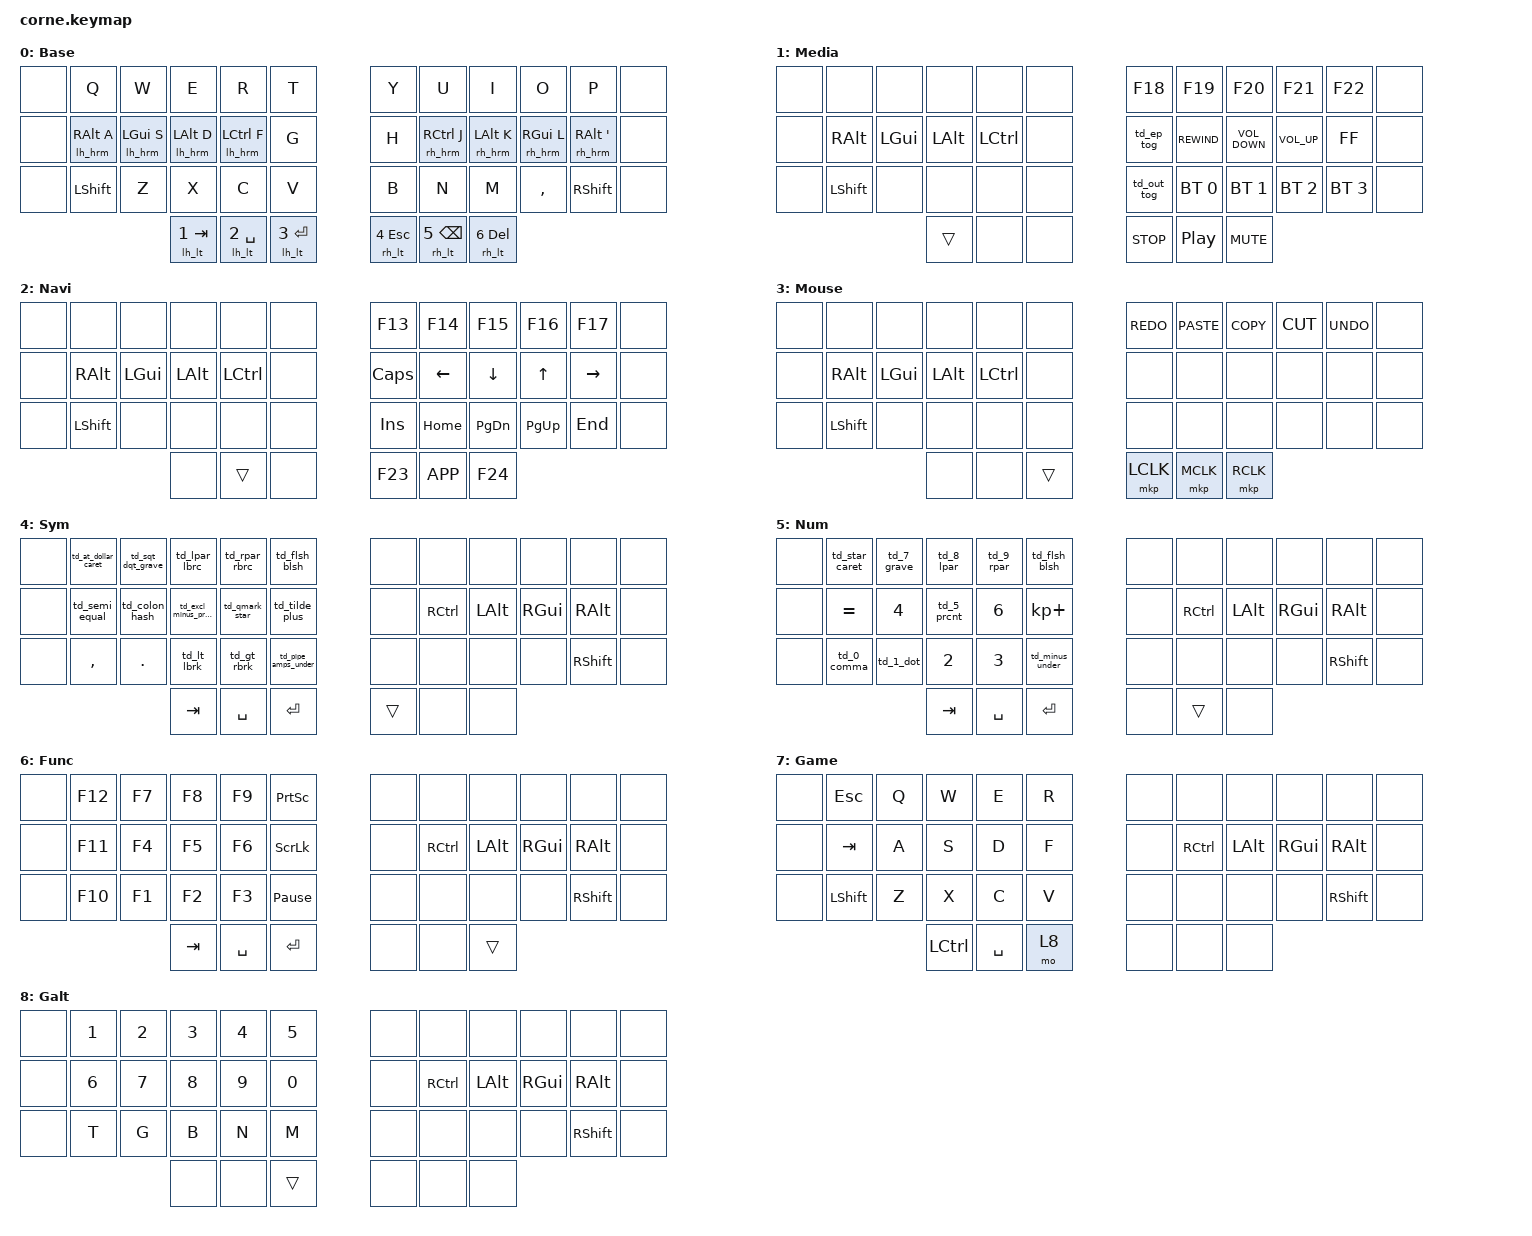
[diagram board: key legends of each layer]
/* 

try 1:FAILED
  found typo in combo builders,
  now try with combo and td builders

try 2:FAILED
  enable TD, disable combos

try 3:FAILED
  disable TDs, enable combos

try 4:FAILED
  space in compatible-string, fixed

try 5:SUCCESS
  timeout-ms typo fixed in combo builders

try 6:SUCCESS
  enable 2 keypress TDs

try 7:FAILED
  enable 3 keypress TDs

try 8:FAILED
  Q,W,E test td 

try 9:SUCCESS
  fixed typo in 3 key TD builder
  enable all TDs

try 10:SUCCESS 
  enable layers, modified to perm shift, base layer is the only one with button displacement

try 11:
  moved LDUR controls 1 key left in navi and media
  changed TD tapping time to 300

corneview default_layer
 -----------------------------------------------------------------------------------------
 |  TAB |  Q  |  W  |  E  |  R  |  T  |   |  Y  |  U   |  I  |  O  |  P  | BKSP |
 | CTRL |  A  |  S  |  D  |  F  |  G  |   |  H  |  J   |  K  |  L  |  ;  |  '   |
 | SHFT |  Z  |  X  |  C  |  V  |  B  |   |  N  |  M   |  ,  |  .  |  /  | ESC  |
                    | GUI | LWR | SPC |   | ENT | RSE  | ALT |

corneview lower_layer
 -----------------------------------------------------------------------------------------
 |  TAB |  1  |  2  |  3  |  4  |  5  |   |  6  |  7  |  8  |  9  |  0  | BKSP |
 | BTCLR| BT1 | BT2 | BT3 | BT4 | BT5 |   | LFT | DWN |  UP | RGT |     |      |
 | SHFT |     |     |     |     |     |   |     |     |     |     |     |      |
                    | GUI |     | SPC |   | ENT |     | ALT |

corneview raise_layer
 -----------------------------------------------------------------------------------------
 |  TAB |  !  |  @  |  #  |  $  |  %  |   |  ^  |  &  |  *  |  (  |  )  | BKSP |
 | CTRL |     |     |     |     |     |   |  -  |  =  |  [  |  ]  |  \  |  `   |
 | SHFT |     |     |     |     |     |   |  _  |  +  |  {  |  }  | "|" |  ~   |
                    | GUI |     | SPC |   | ENT |     | ALT |

 =========================================================================================


TAB
CTRL
SHIFT
BKSP
ESC

new plan
 ------------------------------------------------------------------
 |  Q  |  W  |  E  |  R  |  T  |   |  Y  |  U   |  I  |  O  |  P  |
 |  A  |  S  |  D  |  F  |  G  |   |  H  |  J   |  K  |  L  | ' " |
 |SHFT |  Z  |  X  |  C  |  V  |   |  B  |  N   |  M  | . : |SHFT |
             | GUI | CTRL| SPC |   | ENT | ESC  | ALT |

 ------------------------------------------------------------------
 |  Q  |  W  |  E  |  R  |  T  |   |  Y  |  U   |  I  |  O  |  P  |
 |  A  |  S  |  D  |  F  |  G  |   |  H  |  J   |  K  |  L  |  ;  |
 |  Z  |  X  |  C  |  V  |  B  |   |  N  |  M   |  ,  |  .  |  /  |
             | GUI | LWR | SPC |   | ENT | RSE  | ALT |

 ------------------------------------------------------------------
 |  Q  |  W  |  E  |  R  |  T  |   |  Y  |  U   |  I  |  O  |  P  |
 |  A  |  S  |  D  |  F  |  G  |   |  H  |  J   |  K  |  L  |  ;  |
 |  Z  |  X  |  C  |  V  |  B  |   |  N  |  M   |  ,  |  .  |  /  |
             | GUI | LWR | SPC |   | ENT | RSE  | ALT |







*/
/*                                      42 KEY MATRIX / LAYOUT MAPPING

  ╭────────────────────────┬────────────────────────╮ ╭─────────────────────────┬─────────────────────────╮
  │  0   1   2   3   4   5 │  6   7   8   9  10  11 │ │ LT5 LT4 LT3 LT2 LT1 LT0 │ RT0 RT1 RT2 RT3 RT4 RT5 │
  │ 12  13  14  15  16  17 │ 18  19  20  21  22  23 │ │ LM5 LM4 LM3 LM2 LM1 LM0 │ RM0 RM1 RM2 RM3 RM4 RM5 │
  │ 24  25  26  27  28  29 │ 30  31  32  33  34  35 │ │ LB5 LB4 LB3 LB2 LB1 LB0 │ RB0 RB1 RB2 RB3 RB4 RB5 │
  ╰───────────╮ 36  37  38 │ 39  40  41 ╭───────────╯ ╰───────────╮ LH2 LH1 LH0 │ RH0 RH1 RH2 ╭───────────╯
              ╰────────────┴────────────╯                         ╰─────────────┴─────────────╯             */


/* 
* Copyright (c) 2020 The ZMK Contributors
*
* SPDX-License-Identifier: MIT
*/

#include <behaviors.dtsi>
#include <dt-bindings/zmk/bt.h>
#include <dt-bindings/zmk/ext_power.h>
#include <dt-bindings/zmk/keys.h>
#include <dt-bindings/zmk/outputs.h>
#include <dt-bindings/zmk/mouse.h>

#define HOST_OS 1 // 0 for win, 1 for linux, 2 for mac
#define KEYS_L 0 1 2 3 4 5 12 13 14 15 16 17 24 25 26 27 28 29
#define KEYS_R 6 7 8 9 10 11 18 19 20 21 22 23 30 31 32 33 34 35
#define KEYS_T 36 37 38 39 40 41

// flavor = "hold-preferred"; 
// swapped HRMs and LTs to balanced for debugging
#define XXX &none
#define ___ &trans

#define QUICK_TAP_MS 175
#define PRIOR_IDLE_MS 150
#define TAPPING_TERM_MS 300

/*
//UNICODE-keys
ZMK_UNICODE_SINGLE(euro_sign, N2, N0, A, C)  // €
ZMK_UNICODE_PAIR(fi_a,   N0, N0,  E, N4,   N0, N0,  C, N4) // äÄ
ZMK_UNICODE_PAIR(sv_o,   N0, N0,  E, N5,   N0, N0,  C, N5) // åÅ
ZMK_UNICODE_PAIR(fi_o,   N0, N0,  F, N6,   N0, N0,  D, N6) // öÖ
*/

#define ZMK_HT compatible = "zmk,behavior-hold-tap"; #binding-cells = <2>
#define ZMK_TD compatible = "zmk,behavior-tap-dance"; #binding-cells = <0>


#define HRM_FLAVOR "hold-preferred"
#define HRM_QUICK_TAP_MS 175
#define HRM_TAPPING_TERM_MS 300
#define HRM_PRIOR_IDLE_MS 175

#define LT_FLAVOR "balanced"
#define LT_QUICK_TAP_MS 175
#define LT_TAPPING_TERM_MS 300
#define LT_PRIOR_IDLE_MS 175

/* HRM disabled features
 quick-tap-ms = <HRM_QUICK_TAP_MS>;
 hold-trigger-on-release; */

#define BUILD_HRM(NAME, HOLD, TAP, TRIGGER_POS) \
  NAME: NAME { \
    ZMK_HT; \
    flavor = HRM_FLAVOR; \
    tapping-term-ms = <HRM_TAPPING_TERM_MS>; \
    require-prior-idle-ms = <HRM_PRIOR_IDLE_MS>; \
    bindings = <HOLD>, <TAP>; \
    retro-tap; \
    hold-trigger-key-positions = <TRIGGER_POS>;\
  };

#define BUILD_LT(NAME, HOLD, TAP, TRIGGER_POS) \
  NAME: NAME { \
    ZMK_HT; \
    flavor = LT_FLAVOR; \
    tapping-term-ms = <LT_TAPPING_TERM_MS>; \
    quick-tap-ms = <LT_QUICK_TAP_MS>; \
    require-prior-idle-ms = <LT_PRIOR_IDLE_MS>; \
    bindings = <HOLD>, <TAP>; \
    hold-trigger-key-positions = <TRIGGER_POS>; \
  };

#define TD_TAPPING_TERM_MS 300

#define BUILD_2KEY_TD(NAME, KEY1, KEY2) \
  NAME: NAME { \
    ZMK_TD; \
    tapping-term-ms = <TD_TAPPING_TERM_MS>; \
    bindings = <&kp KEY1>, <&kp KEY2>; \
  };
#define BUILD_3KEY_TD(NAME, KEY1, KEY2, KEY3) \
  NAME: NAME { \
    ZMK_TD; \
    tapping-term-ms = <TD_TAPPING_TERM_MS>; \
    bindings = <&kp KEY1>, <&kp KEY2>, <&kp KEY3>; \
  };
//xTRG-combos if they output something besides keypresses like &none, &bt, &ext_power or &out
#define BUILD_2TRG_TD(NAME, KEY1, KEY2) \
  NAME: NAME { \
    ZMK_TD; \
    tapping-term-ms = <TD_TAPPING_TERM_MS>; \
    bindings = <KEY1>, <KEY2>; \
  };
#define BUILD_3TRG_TD(NAME, KEY1, KEY2, KEY3) \
  NAME: NAME { \
    ZMK_TD; \
    tapping-term-ms = <TD_TAPPING_TERM_MS>; \
    bindings = <KEY1>, <KEY2>, <KEY3>; \
  };

#define COMBO_TIMEOUT_MS 50
#define COMBO_REQUIRE_PRIOR_IDLE_MS 175

#define BUILD_GLOBAL_COMBO(NAME, BINDING, KEYPOS) \
  NAME { \
    timeout-ms = <COMBO_TIMEOUT_MS>; \
    require-prior-idle-ms = <COMBO_REQUIRE_PRIOR_IDLE_MS>; \
    key-positions = <KEYPOS>; \
    bindings = <BINDING>; \
  };
#define BUILD_LIMITED_COMBO(NAME, BINDING, KEYPOS, LAYERS) \
  NAME { \
    timeout-ms = <COMBO_TIMEOUT_MS>; \
    require-prior-idle-ms = <COMBO_REQUIRE_PRIOR_IDLE_MS>; \
    key-positions = <KEYPOS>; \
    bindings = <BINDING>; \
    layers = <LAYERS>; \
  };

/ {
    combos {
      compatible = "zmk,combos";

      BUILD_LIMITED_COMBO(to_gme,   &to 7, 1  5, 0) //Q-T on bse
      BUILD_LIMITED_COMBO(to_base,  &to 0, 5 29, 7) //T+V on gme
      BUILD_LIMITED_COMBO(capsword, &caps_word, 17 18, 0) //G+H on on bse
      
      //these require thumb key presses so they are global
      BUILD_GLOBAL_COMBO(left_reset,  &sys_reset, 5 36 38)
      BUILD_GLOBAL_COMBO(right_reset, &sys_reset, 6 39 41)
      BUILD_GLOBAL_COMBO(left_bootloader,  &bootloader,  1 36 38)
      BUILD_GLOBAL_COMBO(right_bootloader, &bootloader, 10 39 41)

      BUILD_GLOBAL_COMBO(bt_disconnect_0, &bt BT_DISC 0,  29 30 36)
      BUILD_GLOBAL_COMBO(bt_disconnect_1, &bt BT_DISC 1,  29 31 36)
      BUILD_GLOBAL_COMBO(bt_disconnect_2, &bt BT_DISC 2,  29 32 36)
      BUILD_GLOBAL_COMBO(bt_disconnect_3, &bt BT_DISC 3,  29 33 36)
      BUILD_GLOBAL_COMBO(bt_clear, &bt BT_CLR,            29 25 36)
  };
};

/ {
  behaviors {
    // HRMs and LTs have positional hold trigger for contralat kb and HRMs for thumbs too. HRMs have also hold-trigger-on-release.

    BUILD_HRM(lh_hrm, &kp, &kp, KEYS_R KEYS_T)  // left-hand HRMs
    BUILD_LT(lh_lt, &mo, &kp, KEYS_R)          // left-hand LTs
    BUILD_HRM(rh_hrm, &kp, &kp, KEYS_L KEYS_T)  // right-hand HRMs
    BUILD_LT(rh_lt, &mo, &kp, KEYS_L)          // right-hand LTs

    //Tap dances, triple press to activate
    BUILD_3TRG_TD(td_out_tog,XXX,XXX,&out OUT_TOG)
    BUILD_3TRG_TD(td_ep_tog,XXX,XXX,&ext_power EP_TOG)

    //Tap dances for Sym and Num-layers
    BUILD_3KEY_TD(td_at_dollar_caret, AT, DOLLAR, CARET)
    BUILD_3KEY_TD(td_sqt_dqt_grave, SQT, DQT, GRAVE)
    BUILD_3KEY_TD(td_excl_minus_prcnt, EXCL, MINUS, PRCNT)
    BUILD_3KEY_TD(td_pipe_amps_under, PIPE, AMPS, UNDER)

    BUILD_2KEY_TD(td_lpar_lbrc, LPAR, LBRC)
    BUILD_2KEY_TD(td_rpar_rbrc, RPAR, RBRC)
    BUILD_2KEY_TD(td_flsh_blsh, FSLH, BACKSLASH)
    BUILD_2KEY_TD(td_qmark_star, QMARK, STAR)
    BUILD_2KEY_TD(td_tilde_plus, TILDE, PLUS)
    BUILD_2KEY_TD(td_lt_lbrk, LT, LEFT_BRACKET)
    BUILD_2KEY_TD(td_gt_rbrk, GT, RIGHT_BRACKET)
    BUILD_2KEY_TD(td_star_caret, STAR, CARET)
    BUILD_2KEY_TD(td_7_grave, N7, GRAVE)
    BUILD_2KEY_TD(td_8_lpar, N8, LPAR)
    BUILD_2KEY_TD(td_9_rpar, N9, RPAR)
    BUILD_2KEY_TD(td_5_prcnt, N5, PRCNT)
    BUILD_2KEY_TD(td_0_comma, N0, COMMA)
    BUILD_2KEY_TD(td_1_dot, N1, DOT)
    BUILD_2KEY_TD(td_minus_under, MINUS, UNDER)
    BUILD_2KEY_TD(td_semi_equal, SEMI, EQUAL)
    BUILD_2KEY_TD(td_colon_hash, COLON, HASH)

  };
};

/*
ZMK_LAYER(--layername--,
// ╭─────────────┬─────────────┬─────────────┬─────────────┬─────────────╮   ╭─────────────┬─────────────┬─────────────┬─────────────┬─────────────╮
// ├─────────────┼─────────────┼─────────────┼─────────────┼─────────────┤   ├─────────────┼─────────────┼─────────────┼─────────────┼─────────────┤
// ├─────────────┼─────────────┼─────────────┼─────────────┼─────────────┤   ├─────────────┼─────────────┼─────────────┼─────────────┼─────────────┤
// ╰─────────────┴─────────────┼─────────────┼─────────────┼─────────────┤   ├─────────────┼─────────────┼─────────────┼─────────────┴─────────────╯
//                             ╰─────────────┴─────────────┴─────────────╯   ╰─────────────┴─────────────┴─────────────╯
)
*/

/*
ZMK_LAYER(Dummy,
          &none         &none         &none         &none         &none                  &none         &none         &none         &none         &none
          &none         &none         &none         &none         &none                  &none         &none         &none         &none         &none
          &none         &none         &none         &none         &none                  &none         &none         &none         &none         &none
                                      &none         &none         &none                  &none         &none         &none
)
*/

/*
 Mouse layer is WIP, no mouse movement code yet.
 plan is to set up mouse movement on RM0-3 and either wheel or drag on RB0-3 and RClk,MClk,LClk on RH0-2
 
 Full homerow:

  Base {
      bindings = <
     // ╭───────────────┬───────────────┬───────────────┬───────────────┬───────────────╮   ╭───────────────┬───────────────┬───────────────┬───────────────┬───────────────╮
XXX       &kp Q           &kp W           &kp E           &kp R           &kp T               &kp Y              &kp U           &kp I            &kp O          &kp P       XXX
     // ├───────────────┼───────────────┼───────────────┼───────────────┼───────────────┤   ├───────────────┼───────────────┼───────────────┼───────────────┼───────────────┤
XXX       &lh_hrm LGUI A   &lh_hrm LALT S  &lh_hrm LCTRL D  &lh_hrm LSHFT F   &kp G               &kp H          &rh_hrm RSHFT J  &rh_hrm RCTRL K  &rh_hrm RALT L   &rh_hrm RGUI SQT XXX
     // ├───────────────┼───────────────┼───────────────┼───────────────┼───────────────┤   ├───────────────┼───────────────┼───────────────┼───────────────┼───────────────┤
XXX       &kp Z           &kp X           &kp C           &kp V           &kp B               &kp N           &kp M           &kp COMMA       &kp DOT         &kp FSLH       XXX
     // ╰───────────────┼───────────────┼───────────────┼───────────────┼───────────────┤   ├───────────────┼───────────────┼───────────────┼───────────────┼───────────────┤
                                         &lh_lt 1 TAB   &lh_lt 2 SPACE   &lh_lt 3 RET       &rh_lt 4 ESCAPE &rh_lt 5 BACKSPACE  &rh_lt 6 DEL
     //                                 ╰───────────────┴───────────────┴───────────────╯   ╰───────────────┴───────────────┴───────────────╯
      >;
    };
*/


/*
  LAYERS
  0 Base
  1 Media
  2 Navi
  3 Mouse
  4 Sym 
  5 Num 
  6 Fun
  7 Game 
  8 Galt
*/

/ {
  keymap{
    compatible = "zmk,keymap";
    Base {
      bindings = <
     // ╭───────────────┬───────────────┬───────────────┬───────────────┬───────────────╮   ╭───────────────┬───────────────┬───────────────┬───────────────┬───────────────╮
XXX       &kp Q           &kp W           &kp E           &kp R           &kp T               &kp Y              &kp U           &kp I            &kp O          &kp P        XXX
     // ├───────────────┼───────────────┼───────────────┼───────────────┼───────────────┤   ├───────────────┼───────────────┼───────────────┼───────────────┼───────────────┤
XXX       &lh_hrm RALT A  &lh_hrm LGUI S  &lh_hrm LALT D &lh_hrm LCTRL F  &kp G               &kp H          &rh_hrm RCTRL J  &rh_hrm LALT K  &rh_hrm RGUI L &rh_hrm RALT SQT XXX
     // ├───────────────┼───────────────┼───────────────┼───────────────┼───────────────┤   ├───────────────┼───────────────┼───────────────┼───────────────┼───────────────┤
XXX       &kp LSHFT       &kp Z           &kp X           &kp C           &kp V               &kp B             &kp N           &kp M           &kp COMMA       &kp RSHFT     XXX
     // ╰───────────────┼───────────────┼───────────────┼───────────────┼───────────────┤   ├───────────────┼───────────────┼───────────────┼───────────────┼───────────────┤
                                          &lh_lt 1 TAB   &lh_lt 2 SPACE   &lh_lt 3 RET       &rh_lt 4 ESCAPE &rh_lt 5 BACKSPACE  &rh_lt 6 DEL
     //                                 ╰───────────────┴───────────────┴───────────────╯   ╰───────────────┴───────────────┴───────────────╯
      >;
    };

    Media {
      bindings = <
     // ╭─────────────┬─────────────┬─────────────┬─────────────┬─────────────╮   ╭───────────────┬─────────────────┬─────────────────┬───────────────┬───────────────╮
XXX       &none         &none         &none         &none         &none             &kp F18         &kp F19           &kp F20           &kp F21         &kp F22        XXX
     // ├─────────────┼─────────────┼─────────────┼─────────────┼─────────────┤   ├───────────────┼─────────────────┼─────────────────┼───────────────┼───────────────┤
XXX       &kp RALT      &kp LGUI      &kp LALT      &kp LCTRL     &none             &td_ep_tog      &kp C_REWIND      &kp C_VOLUME_DOWN &kp C_VOLUME_UP &kp C_FF       XXX
     // ├─────────────┼─────────────┼─────────────┼─────────────┼─────────────┤   ├───────────────┼─────────────────┼─────────────────┼───────────────┼───────────────┤
XXX       &kp LSHFT     &none         &none         &none         &none             &td_out_tog     &bt BT_SEL 0      &bt BT_SEL 1      &bt BT_SEL 2    &bt BT_SEL 3   XXX
     // ╰─────────────┼─────────────┼─────────────┼─────────────┼─────────────┤   ├───────────────┼─────────────────┼─────────────────┼───────────────┼───────────────┤
                                      &trans        &none         &none             &kp C_STOP      &kp C_PLAY_PAUSE  &kp C_MUTE
     //                             ╰─────────────┴─────────────┴─────────────╯   ╰───────────────┴─────────────────┴─────────────────╯
      >;
    };

    Navi {
      bindings = <
     // ╭─────────────┬─────────────┬─────────────┬─────────────┬─────────────╮   ╭─────────────┬─────────────┬─────────────┬─────────────┬─────────────╮
XXX       &none         &none         &none         &none         &none             &kp F13       &kp F14       &kp F15       &kp F16       &kp F17      XXX
     // ├─────────────┼─────────────┼─────────────┼─────────────┼─────────────┤   ├─────────────┼─────────────┼─────────────┼─────────────┼─────────────┤
XXX       &kp RALT      &kp LGUI      &kp LALT      &kp LCTRL     &none             &kp CLCK      &kp LEFT      &kp DOWN      &kp UP        &kp RIGHT    XXX
     // ├─────────────┼─────────────┼─────────────┼─────────────┼─────────────┤   ├─────────────┼─────────────┼─────────────┼─────────────┼─────────────┤
XXX       &kp LSHFT     &none         &none         &none         &none             &kp INS       &kp HOME      &kp PG_DN     &kp PG_UP     &kp END      XXX
     // ╰─────────────┼─────────────┼─────────────┼─────────────┼─────────────┤   ├─────────────┼─────────────┼─────────────┼─────────────┼─────────────┤
                                      &none         &trans        &none             &kp F23       &kp K_APP     &kp F24
     //                             ╰─────────────┴─────────────┴─────────────╯   ╰─────────────┴─────────────┴─────────────╯
      >;
    };

    Mouse {
      bindings = <
     // ╭─────────────┬─────────────┬─────────────┬─────────────┬─────────────╮   ╭─────────────┬─────────────┬─────────────┬─────────────┬─────────────╮
XXX       &none         &none         &none         &none         &none             &kp K_REDO    &kp K_PASTE   &kp K_COPY    &kp K_CUT     &kp K_UNDO   XXX
     // ├─────────────┼─────────────┼─────────────┼─────────────┼─────────────┤   ├─────────────┼─────────────┼─────────────┼─────────────┼─────────────┤
XXX       &kp RALT      &kp LGUI      &kp LALT      &kp LCTRL     &none             &none         &none         &none         &none         &none        XXX
     // ├─────────────┼─────────────┼─────────────┼─────────────┼─────────────┤   ├─────────────┼─────────────┼─────────────┼─────────────┼─────────────┤
XXX       &kp LSHFT     &none         &none         &none         &none             &none         &none         &none         &none         &none        XXX
     // ╰─────────────┼─────────────┼─────────────┼─────────────┼─────────────┤   ├─────────────┼─────────────┼─────────────┼─────────────┼─────────────┤
                                      &none         &none         &trans            &mkp LCLK     &mkp MCLK     &mkp RCLK
     //                             ╰─────────────┴─────────────┴─────────────╯   ╰─────────────┴─────────────┴─────────────╯
      >;
    };

    Sym {
      bindings = <
     // ╭─────────────────────┬─────────────────────┬─────────────────────┬─────────────────────┬─────────────────────╮   ╭─────────────┬─────────────┬─────────────┬─────────────┬─────────────╮
XXX       &td_at_dollar_caret   &td_sqt_dqt_grave     &td_lpar_lbrc         &td_rpar_rbrc         &td_flsh_blsh              &none         &none         &none         &none         &none       XXX
     // ├─────────────────────┼─────────────────────┼─────────────────────┼─────────────────────┼─────────────────────┤   ├─────────────┼─────────────┼─────────────┼─────────────┼─────────────┤
XXX       &td_semi_equal        &td_colon_hash        &td_excl_minus_prcnt  &td_qmark_star        &td_tilde_plus             &none         &kp RCTRL     &kp LALT      &kp RGUI      &kp RALT    XXX
     // ├─────────────────────┼─────────────────────┼─────────────────────┼─────────────────────┼─────────────────────┤   ├─────────────┼─────────────┼─────────────┼─────────────┼─────────────┤
XXX       &kp COMMA             &kp DOT               &td_lt_lbrk           &td_gt_rbrk           &td_pipe_amps_under        &none         &none         &none         &none         &kp RSHFT   XXX
     // ╰─────────────────────┼─────────────────────┼─────────────────────┼─────────────────────┼─────────────────────┤   ├─────────────┼─────────────┼─────────────┼─────────────┼─────────────┤
                                                      &kp TAB               &kp SPACE             &kp RET                    &trans        &none         &none
     //                                             ╰─────────────────────┴─────────────────────┴─────────────────────╯   ╰─────────────┴─────────────┴─────────────╯
      >;
    };

    Num {
      bindings = <
     // ╭─────────────┬─────────────┬─────────────┬─────────────┬─────────────╮   ╭─────────────┬─────────────┬─────────────┬─────────────┬─────────────╮
XXX      &td_star_caret &td_7_grave  &td_8_lpar    &td_9_rpar    &td_flsh_blsh      &none         &none         &none         &none         &none        XXX
     // ├─────────────┼─────────────┼─────────────┼─────────────┼─────────────┤   ├─────────────┼─────────────┼─────────────┼─────────────┼─────────────┤
XXX       &kp EQUAL     &kp N4        &td_5_prcnt   &kp N6        &kp KP_PLUS       &none         &kp RCTRL     &kp LALT      &kp RGUI      &kp RALT     XXX
     // ├─────────────┼─────────────┼─────────────┼─────────────┼─────────────┤   ├─────────────┼─────────────┼─────────────┼─────────────┼─────────────┤
XXX       &td_0_comma   &td_1_dot     &kp N2        &kp N3        &td_minus_under   &none         &none         &none         &none         &kp RSHFT    XXX
     // ╰─────────────┼─────────────┼─────────────┼─────────────┼─────────────┤   ├─────────────┼─────────────┼─────────────┼─────────────┼─────────────┤
                                      &kp TAB       &kp SPACE     &kp RET           &none         &trans        &none
     //                             ╰─────────────┴─────────────┴─────────────╯   ╰─────────────┴─────────────┴─────────────╯
      >;
    };

    Func {
      bindings = <
     // ╭─────────────┬─────────────┬─────────────┬─────────────┬─────────────╮   ╭─────────────┬─────────────┬─────────────┬─────────────┬─────────────╮
XXX       &kp F12       &kp F7        &kp F8        &kp F9        &kp PSCRN         &none         &none         &none         &none         &none        XXX
     // ├─────────────┼─────────────┼─────────────┼─────────────┼─────────────┤   ├─────────────┼─────────────┼─────────────┼─────────────┼─────────────┤
XXX       &kp F11       &kp F4        &kp F5        &kp F6        &kp SCROLLLOCK    &none         &kp RCTRL     &kp LALT      &kp RGUI      &kp RALT     XXX 
     // ├─────────────┼─────────────┼─────────────┼─────────────┼─────────────┤   ├─────────────┼─────────────┼─────────────┼─────────────┼─────────────┤
XXX       &kp F10       &kp F1        &kp F2        &kp F3        &kp PAUSE_BREAK   &none         &none         &none         &none         &kp RSHFT    XXX
     // ╰─────────────┼─────────────┼─────────────┼─────────────┼─────────────┤   ├─────────────┼─────────────┼─────────────┼─────────────┼─────────────┤
                                      &kp TAB       &kp SPACE     &kp RET           &none         &none         &trans
     //                             ╰─────────────┴─────────────┴─────────────╯   ╰─────────────┴─────────────┴─────────────╯
      >;
    };

    Game {
      bindings = <
     // ╭─────────────┬─────────────┬─────────────┬─────────────┬─────────────╮   ╭─────────────┬─────────────┬─────────────┬─────────────┬─────────────╮
XXX       &kp ESC       &kp Q         &kp W         &kp E         &kp R             &none         &none         &none         &none         &none        XXX
     // ├─────────────┼─────────────┼─────────────┼─────────────┼─────────────┤   ├─────────────┼─────────────┼─────────────┼─────────────┼─────────────┤
XXX       &kp TAB       &kp A         &kp S         &kp D         &kp F             &none         &kp RCTRL     &kp LALT      &kp RGUI      &kp RALT     XXX
     // ├─────────────┼─────────────┼─────────────┼─────────────┼─────────────┤   ├─────────────┼─────────────┼─────────────┼─────────────┼─────────────┤
XXX       &kp LSHFT     &kp Z         &kp X         &kp C         &kp V             &none         &none         &none         &none         &kp RSHFT    XXX
     // ╰─────────────┼─────────────┼─────────────┼─────────────┼─────────────┤   ├─────────────┼─────────────┼─────────────┼─────────────┼─────────────┤
                                      &kp LCTRL     &kp SPACE     &mo 8             &none         &none         &none
     //                             ╰─────────────┴─────────────┴─────────────╯   ╰─────────────┴─────────────┴─────────────╯
      >;
    };

    Galt {
      bindings = <
     // ╭─────────────┬─────────────┬─────────────┬─────────────┬─────────────╮   ╭─────────────┬─────────────┬─────────────┬─────────────┬─────────────╮
XXX       &kp N1        &kp N2        &kp N3        &kp N4        &kp N5            &none         &none         &none         &none         &none        XXX
     // ├─────────────┼─────────────┼─────────────┼─────────────┼─────────────┤   ├─────────────┼─────────────┼─────────────┼─────────────┼─────────────┤
XXX       &kp N6        &kp N7        &kp N8        &kp N9        &kp N0            &none         &kp RCTRL     &kp LALT      &kp RGUI      &kp RALT     XXX
     // ├─────────────┼─────────────┼─────────────┼─────────────┼─────────────┤   ├─────────────┼─────────────┼─────────────┼─────────────┼─────────────┤
XXX       &kp T         &kp G         &kp B         &kp N         &kp M             &none         &none         &none         &none         &kp RSHFT    XXX
     // ╰─────────────┼─────────────┼─────────────┼─────────────┼─────────────┤   ├─────────────┼─────────────┼─────────────┼─────────────┼─────────────┤
                                       &none         &none        &trans            &none         &none         &none
     //                             ╰─────────────┴─────────────┴─────────────╯   ╰─────────────┴─────────────┴─────────────╯
      >;
    };
  };
};

/* Vim: set ft=c: */ 
